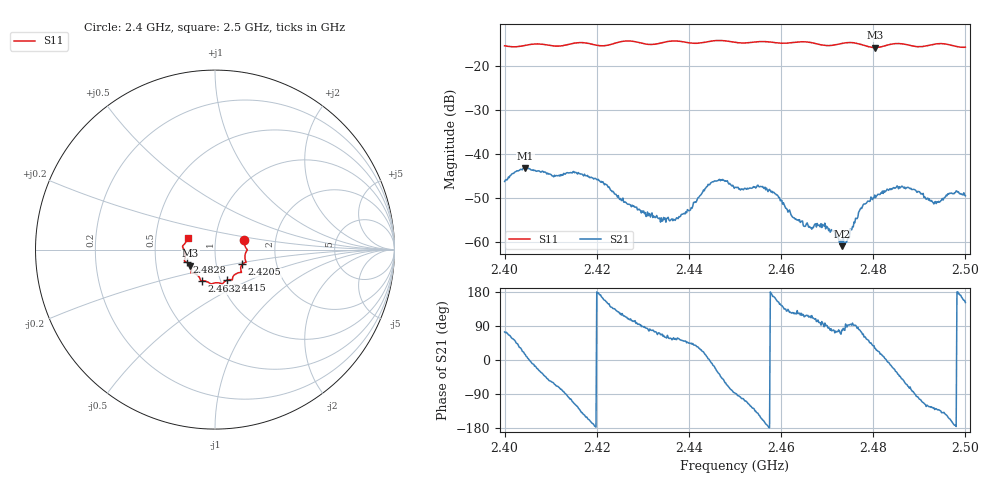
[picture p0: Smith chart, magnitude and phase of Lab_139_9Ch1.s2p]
# Hz S RI R 50
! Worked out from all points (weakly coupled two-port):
!   601 points, 2.4 GHz to 2.5 GHz, reference 50 ohm
!   highest |S21| = -43.07 dB at 2.4045 GHz (marker M1); lowest = -60.8 dB at 2.4732 GHz (marker M2)
!   lowest |S11| = -15.7 dB at 2.4803 GHz (marker M3), VSWR 1.39, Z = 37.4 - j6.84 ohm
!   |S11| at or under -10 dB: start of sweep to end of sweep
!   S12 and S22 are empty: the file has one direction only
!   S11 on the Smith chart (normalised r, x): 2.4 GHz: 1.38, +0.15; 2.4205 GHz: 1.34, -0.22; 2.4415 GHz: 1.07, -0.38; 2.4632 GHz: 0.82, -0.29; 2.4828 GHz: 0.72, -0.10; 2.5 GHz: 0.73, +0.10
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2.4e9  0.1635 0.0519  0.00136 0.00474  0 0  0 0
2.4045e9  0.1735 0.00696  0.0068 0.00174  0 0  0 0
2.416667e9  0.173 -0.07  -0.00449 -0.00397  0 0  0 0
2.4205e9  0.152 -0.0816  -0.00503 0.000531  0 0  0 0
2.433333e9  0.1001 -0.1515  0.0006 0.00178  0 0  0 0
2.437167e9  0.0961 -0.1694  0.00108 0.00149  0 0  0 0
2.4415e9  0.0659 -0.1708  0.00223 0.00177  0 0  0 0
2.445333e9  0.0424 -0.1909  0.00471 -0.00128  0 0  0 0
2.45e9  0.0242 -0.1861  0.000183 -0.00422  0 0  0 0
2.458e9  -0.0315 -0.1855  -0.0038 0.000444  0 0  0 0
2.463167e9  -0.0731 -0.1738  -0.000992 0.00158  0 0  0 0
2.466667e9  -0.082 -0.167  -0.000647 0.00126  0 0  0 0
2.4695e9  -0.0947 -0.145  -0.000214 0.00164  0 0  0 0
2.473167e9  -0.1279 -0.1303  0.000175 0.00089  0 0  0 0
2.474333e9  -0.1331 -0.1304  5e-05 0.00105  0 0  0 0
2.4775e9  -0.1313 -0.1186  0.000727 0.00232  0 0  0 0
2.480333e9  -0.1376 -0.0891  0.00297 0.00177  0 0  0 0
2.482833e9  -0.1584 -0.0701  0.00385 2.99e-05  0 0  0 0
2.483333e9  -0.1624 -0.0682  0.00389 -0.000428  0 0  0 0
2.487833e9  -0.1672 -0.0485  0.00111 -0.00399  0 0  0 0
2.4935e9  -0.1794 0.0128  -0.00181 -0.00229  0 0  0 0
2.5e9  -0.1526 0.0643  -0.00298 0.0016  0 0  0 0
